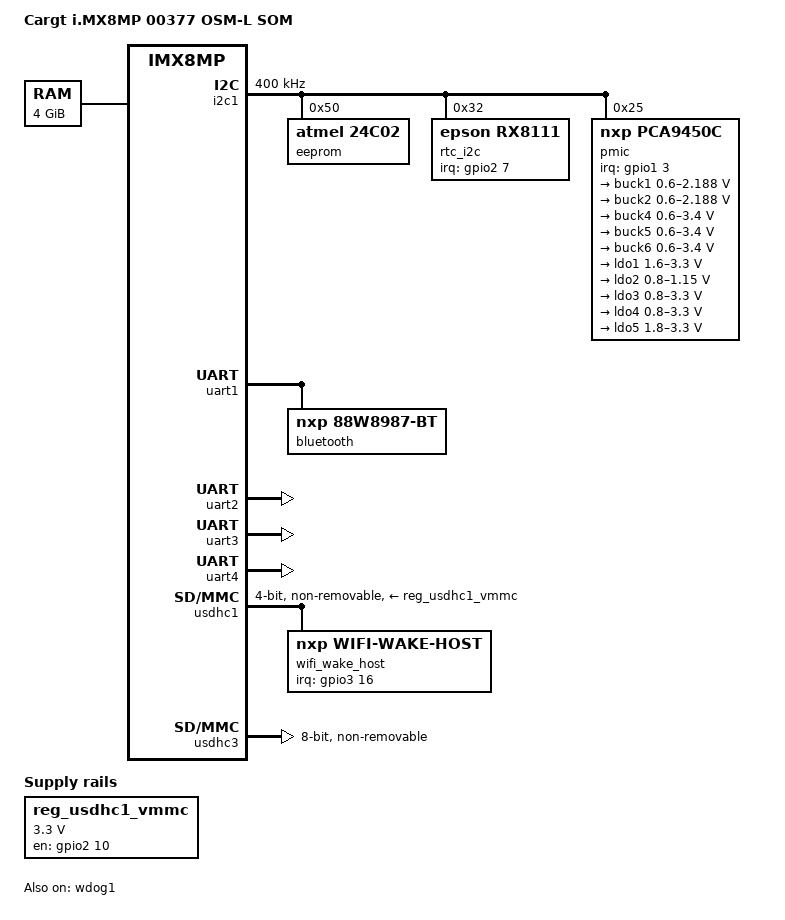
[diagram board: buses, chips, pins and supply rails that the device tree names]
// SPDX-License-Identifier: (GPL-2.0+ OR MIT)
/*
 * Copyright 2022 NXP
 */

 /dts-v1/;

 #include <dt-bindings/usb/pd.h>
 #include "imx8mp.dtsi"

 &iomuxc {
	pinctrl-names = "default";

	pinctrl_i2c1: i2c1grp {
		fsl,pins = <
			MX8MP_IOMUXC_I2C1_SCL__I2C1_SCL		0x400001c2
			MX8MP_IOMUXC_I2C1_SDA__I2C1_SDA		0x400001c2
		>;
	};

    pinctrl_pmic: pmicgrp {
		fsl,pins = <
			MX8MP_IOMUXC_GPIO1_IO03__GPIO1_IO03	0x000001c0
		>;
	};

	pinctrl_uart1: uart1grp {
		fsl,pins = <
			MX8MP_IOMUXC_UART1_RXD__UART1_DCE_RX	0x140
			MX8MP_IOMUXC_UART1_TXD__UART1_DCE_TX	0x140
			MX8MP_IOMUXC_UART3_TXD__UART1_DTE_CTS	0x140
			MX8MP_IOMUXC_UART3_TXD__UART1_DCE_RTS	0x140
		>;
	};

	pinctrl_uart2: uart2grp {
		fsl,pins = <
			MX8MP_IOMUXC_UART2_RXD__UART2_DCE_RX	0x49
			MX8MP_IOMUXC_UART2_TXD__UART2_DCE_TX	0x49
			MX8MP_IOMUXC_SAI3_RXC__UART2_DCE_CTS	0x49
			MX8MP_IOMUXC_SAI3_RXD__UART2_DCE_RTS	0x49
		>;
	};

	pinctrl_uart3: uart3grp {
		fsl,pins = <
			MX8MP_IOMUXC_NAND_ALE__UART3_DCE_RX		0x140
			MX8MP_IOMUXC_NAND_CE0_B__UART3_DCE_TX	0x140
		>;
	};

	pinctrl_uart4: uart4grp {
		fsl,pins = <
			MX8MP_IOMUXC_UART4_RXD__UART4_DCE_RX		0x140
			MX8MP_IOMUXC_UART4_TXD__UART4_DCE_TX		0x140
		>;
	};

	pinctrl_usdhc1: usdhc1grp {
		fsl,pins = <
			MX8MP_IOMUXC_SD1_CLK__USDHC1_CLK		0x190
			MX8MP_IOMUXC_SD1_CMD__USDHC1_CMD		0x1d0
			MX8MP_IOMUXC_SD1_DATA0__USDHC1_DATA0	0x1d0
			MX8MP_IOMUXC_SD1_DATA1__USDHC1_DATA1	0x1d0
			MX8MP_IOMUXC_SD1_DATA2__USDHC1_DATA2	0x1d0
			MX8MP_IOMUXC_SD1_DATA3__USDHC1_DATA3	0x1d0
		>;
	};

	pinctrl_usdhc1_100mhz: usdhc1grp-100mhz {
		fsl,pins = <
			MX8MP_IOMUXC_SD1_CLK__USDHC1_CLK		0x194
			MX8MP_IOMUXC_SD1_CMD__USDHC1_CMD		0x1d4
			MX8MP_IOMUXC_SD1_DATA0__USDHC1_DATA0	0x1d4
			MX8MP_IOMUXC_SD1_DATA1__USDHC1_DATA1	0x1d4
			MX8MP_IOMUXC_SD1_DATA2__USDHC1_DATA2	0x1d4
			MX8MP_IOMUXC_SD1_DATA3__USDHC1_DATA3	0x1d4
		>;
	};

	pinctrl_usdhc1_200mhz: usdhc1grp-200mhz {
		fsl,pins = <
			MX8MP_IOMUXC_SD1_CLK__USDHC1_CLK		0x196
			MX8MP_IOMUXC_SD1_CMD__USDHC1_CMD		0x1d6
			MX8MP_IOMUXC_SD1_DATA0__USDHC1_DATA0	0x1d6
			MX8MP_IOMUXC_SD1_DATA1__USDHC1_DATA1	0x1d6
			MX8MP_IOMUXC_SD1_DATA2__USDHC1_DATA2	0x1d6
			MX8MP_IOMUXC_SD1_DATA3__USDHC1_DATA3	0x1d6
		>;
	};	

	pinctrl_usdhc1_sleep: usdhc1grp-sleep {
		fsl,pins = <
			MX8MP_IOMUXC_SD1_CLK__USDHC1_CLK		0x100
			MX8MP_IOMUXC_SD1_CMD__USDHC1_CMD		0x100
			MX8MP_IOMUXC_SD1_DATA0__USDHC1_DATA0	0x100
			MX8MP_IOMUXC_SD1_DATA1__USDHC1_DATA1	0x100
			MX8MP_IOMUXC_SD1_DATA2__USDHC1_DATA2	0x100
			MX8MP_IOMUXC_SD1_DATA3__USDHC1_DATA3	0x100
		>;
	};	

	pinctrl_usdhc3: usdhc3grp {
		fsl,pins = <
			MX8MP_IOMUXC_NAND_WE_B__USDHC3_CLK	0x190
			MX8MP_IOMUXC_NAND_WP_B__USDHC3_CMD	0x1d0
			MX8MP_IOMUXC_NAND_DATA04__USDHC3_DATA0	0x1d0
			MX8MP_IOMUXC_NAND_DATA05__USDHC3_DATA1	0x1d0
			MX8MP_IOMUXC_NAND_DATA06__USDHC3_DATA2	0x1d0
			MX8MP_IOMUXC_NAND_DATA07__USDHC3_DATA3	0x1d0
			MX8MP_IOMUXC_NAND_RE_B__USDHC3_DATA4	0x1d0
			MX8MP_IOMUXC_NAND_CE2_B__USDHC3_DATA5	0x1d0
			MX8MP_IOMUXC_NAND_CE3_B__USDHC3_DATA6	0x1d0
			MX8MP_IOMUXC_NAND_CLE__USDHC3_DATA7	0x1d0
			MX8MP_IOMUXC_NAND_CE1_B__USDHC3_STROBE	0x190
		>;
	};

	pinctrl_usdhc3_100mhz: usdhc3-100mhzgrp {
		fsl,pins = <
			MX8MP_IOMUXC_NAND_WE_B__USDHC3_CLK	0x194
			MX8MP_IOMUXC_NAND_WP_B__USDHC3_CMD	0x1d4
			MX8MP_IOMUXC_NAND_DATA04__USDHC3_DATA0	0x1d4
			MX8MP_IOMUXC_NAND_DATA05__USDHC3_DATA1	0x1d4
			MX8MP_IOMUXC_NAND_DATA06__USDHC3_DATA2	0x1d4
			MX8MP_IOMUXC_NAND_DATA07__USDHC3_DATA3	0x1d4
			MX8MP_IOMUXC_NAND_RE_B__USDHC3_DATA4	0x1d4
			MX8MP_IOMUXC_NAND_CE2_B__USDHC3_DATA5	0x1d4
			MX8MP_IOMUXC_NAND_CE3_B__USDHC3_DATA6	0x1d4
			MX8MP_IOMUXC_NAND_CLE__USDHC3_DATA7	0x1d4
			MX8MP_IOMUXC_NAND_CE1_B__USDHC3_STROBE	0x194
		>;
	};

	pinctrl_usdhc3_200mhz: usdhc3-200mhzgrp {
		fsl,pins = <
			MX8MP_IOMUXC_NAND_WE_B__USDHC3_CLK	0x196
			MX8MP_IOMUXC_NAND_WP_B__USDHC3_CMD	0x1d6
			MX8MP_IOMUXC_NAND_DATA04__USDHC3_DATA0	0x1d6
			MX8MP_IOMUXC_NAND_DATA05__USDHC3_DATA1	0x1d6
			MX8MP_IOMUXC_NAND_DATA06__USDHC3_DATA2	0x1d6
			MX8MP_IOMUXC_NAND_DATA07__USDHC3_DATA3	0x1d6
			MX8MP_IOMUXC_NAND_RE_B__USDHC3_DATA4	0x1d6
			MX8MP_IOMUXC_NAND_CE2_B__USDHC3_DATA5	0x1d6
			MX8MP_IOMUXC_NAND_CE3_B__USDHC3_DATA6	0x1d6
			MX8MP_IOMUXC_NAND_CLE__USDHC3_DATA7	0x1d6
			MX8MP_IOMUXC_NAND_CE1_B__USDHC3_STROBE	0x196
		>;
	};

	pinctrl_wdog: wdoggrp {
		fsl,pins = <
			MX8MP_IOMUXC_GPIO1_IO02__WDOG1_WDOG_B	0x166
		>;
	};

	pinctrl_usdhc1_wlan: usdhc1wlangrp {
		fsl,pins = <
			MX8MP_IOMUXC_NAND_READY_B__GPIO3_IO16	0x31e
		>;
	};
	
	pinctrl_rtc: rtcgrp {
		fsl,pins = <
			MX8MP_IOMUXC_SD1_DATA5__GPIO2_IO07		0x31e /* RTC_nINT */
		>;
	};	
	 
	pinctrl_wifi_reg: wifireggrp {
		fsl,pins = <
			MX8MP_IOMUXC_SD1_RESET_B__GPIO2_IO10	0x31e /* WL_REG_ON */
		>;
	};
};

 / {
	 model = "Cargt i.MX8MP 00377 OSM-L SOM";
	 compatible = "cargt,imx8mp-00377", "fsl,imx8mp";

	chosen {
		stdout-path = &uart4;
	};


	aliases {
		rtc0 = &rtc_i2c;
		rtc1 = &snvs_rtc;
	};

	memory@40000000 {
		device_type = "memory";
		reg = <0x0 0x40000000 0 0xc0000000>,
		      <0x1 0x00000000 0 0x40000000>;
	};

	reg_usdhc1_vmmc: regulator-usdhc1 {
		pinctrl-names = "default";
		pinctrl-0 = <&pinctrl_wifi_reg>;		
		compatible = "regulator-fixed";
		regulator-name = "WL_REG_ON";
		regulator-min-microvolt = <3300000>;
		regulator-max-microvolt = <3300000>;
		gpio = <&gpio2 10 GPIO_ACTIVE_HIGH>; /* WL_REG_ON connects to PDn signal on IW612 */
		/*
		 * IW612 wifi chip needs more delay than other wifi chips to complete
		 * the host interface initialization after power up, otherwise the
		 * internal state of IW612 may be unstable, resulting in the failure of
		 * the SDIO3.0 switch voltage.
		 */
		startup-delay-us = <20000>;
		enable-active-high;
	};	
};


 &gpio1{
	gpio-line-names =
	"gpio1-0","gpio1-1","gpio1-2","gpio1-3", 		// 0-3
	"gpio1-4","gpio1-5","gpio1-6","gpio1-7", 		// 4-7
	"gpio1-8","gpio1-9","gpio1-10","gpio1-11",	 	// 8-11
	"gpio1-12","gpio1-13","gpio1-14","gpio1-15", 	// 12-15
	"gpio1-16","gpio1-17","gpio1-18","gpio1-19", 	// 16-19
	"gpio1-20","gpio1-21","gpio1-22","gpio1-23", 	// 20-23
	"gpio1-24","gpio1-25","gpio1-26","gpio1-27", 	// 24-27
	"gpio1-28","gpio1-29","gpio1-30","gpio1-31"; 	// 28-31
};

&gpio2{
	gpio-line-names =
	"gpio2-0","gpio2-1","gpio2-2","gpio2-3", 		// 0-3
	"gpio2-4","gpio2-5","gpio2-6","gpio2-7", 		// 4-7
	"gpio2-8","gpio2-9","gpio2-10","gpio2-11",	 	// 8-11
	"gpio2-12","gpio2-13","gpio2-14","gpio2-15", 	// 12-15
	"gpio2-16","gpio2-17","gpio2-18","gpio2-19", 	// 16-19
	"gpio2-20","gpio2-21","gpio2-22","gpio2-23", 	// 20-23
	"gpio2-24","gpio2-25","gpio2-26","gpio2-27", 	// 24-27
	"gpio2-28","gpio2-29","gpio2-30","gpio2-31"; 	// 28-31
};

&gpio3{
	gpio-line-names =
	"gpio3-0","gpio3-1","gpio3-2","gpio3-3", 		// 0-3
	"gpio3-4","gpio3-5","gpio3-6","gpio3-7", 		// 4-7
	"gpio3-8","gpio3-9","gpio3-10","gpio3-11",	 	// 8-11
	"gpio3-12","gpio3-13","gpio3-14","gpio3-15", 	// 12-15
	"gpio3-16","gpio3-17","gpio3-18","gpio3-19", 	// 16-19
	"gpio3-20","gpio3-21","gpio3-22","gpio3-23", 	// 20-23
	"gpio3-24","gpio3-25","gpio3-26","gpio3-27", 	// 24-27
	"gpio3-28","gpio3-29","gpio3-30","gpio3-31"; 	// 28-31
};


&gpio4{
	gpio-line-names =
	"gpio4-0","gpio4-1","gpio4-2","gpio4-3", 		// 0-3
	"gpio4-4","gpio4-5","gpio4-6","gpio4-7", 		// 4-7
	"gpio4-8","gpio4-9","gpio4-10","gpio4-11",	 	// 8-11
	"gpio4-12","gpio4-13","gpio4-14","gpio4-15", 	// 12-15
	"gpio4-16","gpio4-17","gpio4-18","gpio4-19", 	// 16-19
	"gpio4-20","gpio4-21","gpio4-22","gpio4-23", 	// 20-23
	"gpio4-24","gpio4-25","gpio4-26","gpio4-27", 	// 24-27
	"gpio4-28","gpio4-29","gpio4-30","gpio4-31"; 	// 28-31
};


&gpio5{
	gpio-line-names =
	"gpio5-0","gpio5-1","gpio5-2","gpio5-3", 		// 0-3
	"gpio5-4","gpio5-5","gpio5-6","gpio5-7", 		// 4-7
	"gpio5-8","gpio5-9","gpio5-10","gpio5-11",	 	// 8-11
	"gpio5-12","gpio5-13","gpio5-14","gpio5-15", 	// 12-15
	"gpio5-16","gpio5-17","gpio5-18","gpio5-19", 	// 16-19
	"gpio5-20","gpio5-21","gpio5-22","gpio5-23", 	// 20-23
	"gpio5-24","gpio5-25","gpio5-26","gpio5-27", 	// 24-27
	"gpio5-28","gpio5-29","gpio5-30","gpio5-31"; 	// 28-31
};

&A53_0 {
	cpu-supply = <&buck2>;
};

&A53_1 {
	cpu-supply = <&buck2>;
};

&A53_2 {
	cpu-supply = <&buck2>;
};

&A53_3 {
	cpu-supply = <&buck2>;
};

/*&dsp {
	status = "okay";
};
*/


&i2c1 {
	clock-frequency = <400000>;
	pinctrl-names = "default";
	pinctrl-0 = <&pinctrl_i2c1>;
	status = "okay";

	/* eeprom on som */
	eeprom@50 {
		compatible = "atmel,24c02";
		reg = <0x50>;
		pagesize = <16>;		
	};

	rtc_i2c: rtc@32 {
		compatible ="epson,rx8111";
		reg = <0x32>;
		interrupt-parent = <&gpio2>;
		interrupts = <7 IRQ_TYPE_EDGE_FALLING>;
		pinctrl-names = "default";
		pinctrl-0 = <&pinctrl_rtc>;
	};

	pmic@25 {
		compatible = "nxp,pca9450c";
		reg = <0x25>;
		pinctrl-names = "default";
		pinctrl-0 = <&pinctrl_pmic>;
		interrupt-parent = <&gpio1>;
		interrupts = <3 IRQ_TYPE_LEVEL_LOW>;

		regulators {
			buck1: BUCK1 {
				regulator-name = "BUCK1";
				regulator-min-microvolt = <600000>;
				regulator-max-microvolt = <2187500>;
				regulator-boot-on;
				regulator-always-on;
				regulator-ramp-delay = <3125>;
			};

			buck2: BUCK2 {
				regulator-name = "BUCK2";
				regulator-min-microvolt = <600000>;
				regulator-max-microvolt = <2187500>;
				regulator-boot-on;
				regulator-always-on;
				regulator-ramp-delay = <3125>;
				nxp,dvs-run-voltage = <950000>;
				nxp,dvs-standby-voltage = <850000>;
			};

			buck4: BUCK4{
				regulator-name = "BUCK4";
				regulator-min-microvolt = <600000>;
				regulator-max-microvolt = <3400000>;
				regulator-boot-on;
				regulator-always-on;
			};

			buck5: BUCK5{
				regulator-name = "BUCK5";
				regulator-min-microvolt = <600000>;
				regulator-max-microvolt = <3400000>;
				regulator-boot-on;
				regulator-always-on;
			};

			buck6: BUCK6 {
				regulator-name = "BUCK6";
				regulator-min-microvolt = <600000>;
				regulator-max-microvolt = <3400000>;
				regulator-boot-on;
				regulator-always-on;
			};

			ldo1: LDO1 {
				regulator-name = "LDO1";
				regulator-min-microvolt = <1600000>;
				regulator-max-microvolt = <3300000>;
				regulator-boot-on;
				regulator-always-on;
			};

			ldo2: LDO2 {
				regulator-name = "LDO2";
				regulator-min-microvolt = <800000>;
				regulator-max-microvolt = <1150000>;
				regulator-boot-on;
				regulator-always-on;
			};

			ldo3: LDO3 {
				regulator-name = "LDO3";
				regulator-min-microvolt = <800000>;
				regulator-max-microvolt = <3300000>;
				regulator-boot-on;
				regulator-always-on;
			};

			ldo4: LDO4 {
				regulator-name = "LDO4";
				regulator-min-microvolt = <800000>;
				regulator-max-microvolt = <3300000>;
				regulator-boot-on;
				regulator-always-on;
			};

			ldo5: LDO5 {
				regulator-name = "LDO5";
				regulator-min-microvolt = <1800000>;
				regulator-max-microvolt = <3300000>;
				regulator-boot-on;
				regulator-always-on;
			};
		};
	};
};

&uart1 {
	/* Bluetooth IW612 */
	pinctrl-names = "default";
	pinctrl-0 = <&pinctrl_uart1>;
	fsl,uart-has-rtscts;
	status = "okay";

	bluetooth {
		compatible = "nxp,88w8987-bt";
	};
};

&uart2 {
	/* OSM UART_A */
	pinctrl-names = "default";
	pinctrl-0 = <&pinctrl_uart2>;
	fsl,uart-has-rtscts;
	status = "okay";
};

&uart3 {
	/* OSM UART_C */
	pinctrl-names = "default";
	pinctrl-0 = <&pinctrl_uart3>;
	status = "okay";
};

&uart4 {
	/* OSM UART CONSOLE */
	pinctrl-names = "default";
	pinctrl-0 = <&pinctrl_uart4>;
	status = "okay";
};

&usdhc1 {
	pinctrl-names = "default", "state_100mhz", "state_200mhz", "sleep";
	pinctrl-0 = <&pinctrl_usdhc1>, <&pinctrl_usdhc1_wlan>;
	pinctrl-1 = <&pinctrl_usdhc1_100mhz>, <&pinctrl_usdhc1_wlan>;
	pinctrl-2 = <&pinctrl_usdhc1_200mhz>, <&pinctrl_usdhc1_wlan>;
	pinctrl-3 = <&pinctrl_usdhc1_sleep>, <&pinctrl_usdhc1_wlan>;
	vmmc-supply = <&reg_usdhc1_vmmc>;
	bus-width = <4>;
	keep-power-in-suspend;
	non-removable;
	wakeup-source;
	status = "okay";

	wifi_wake_host {
		compatible = "nxp,wifi-wake-host";
		interrupt-parent = <&gpio3>;
		interrupts = <16 IRQ_TYPE_LEVEL_LOW>;
		interrupt-names = "host-wake";
	};
}; 

/* eMMC */
&usdhc3 {
	assigned-clocks = <&clk IMX8MP_CLK_USDHC3>;
	assigned-clock-rates = <400000000>;
	pinctrl-names = "default", "state_100mhz", "state_200mhz";
	pinctrl-0 = <&pinctrl_usdhc3>;
	pinctrl-1 = <&pinctrl_usdhc3_100mhz>;
	pinctrl-2 = <&pinctrl_usdhc3_200mhz>;
	bus-width = <8>;
	non-removable;
	status = "okay";
};

/* wdog in pmic */
&wdog1 {
	pinctrl-names = "default";
	pinctrl-0 = <&pinctrl_wdog>;
	fsl,ext-reset-output;
	status = "okay";
};

